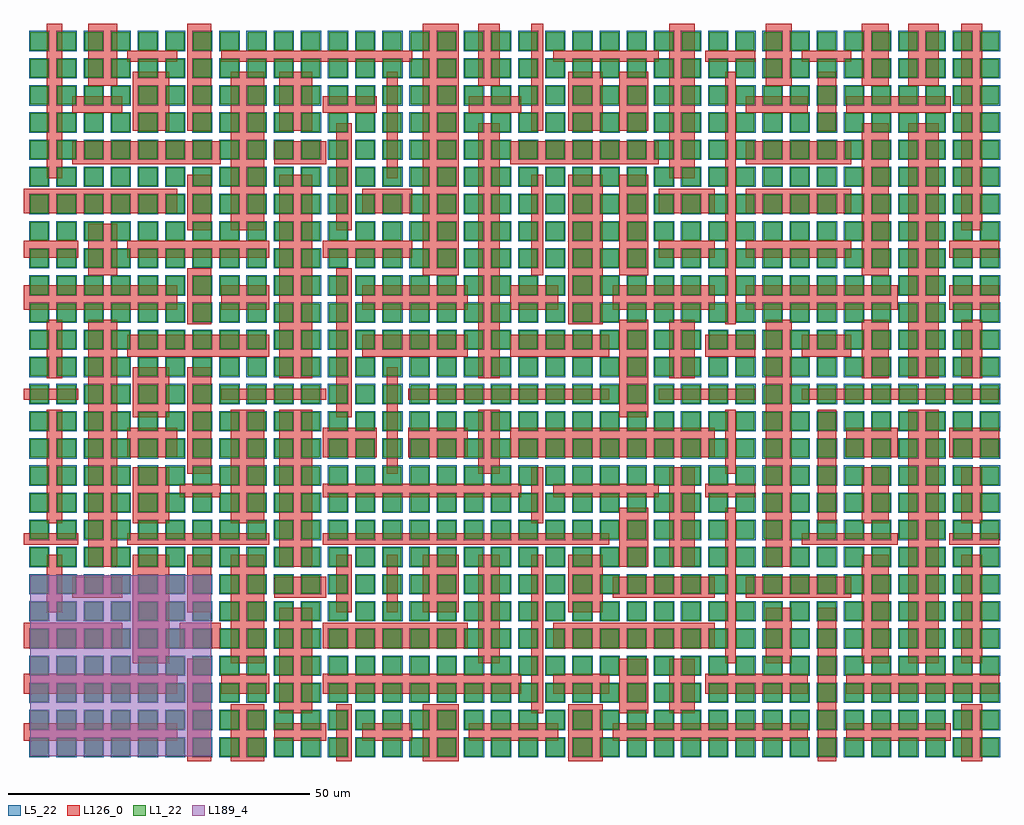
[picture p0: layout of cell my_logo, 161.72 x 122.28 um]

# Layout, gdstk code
import gdstk
lib = gdstk.Library(unit=1e-6, precision=1e-09)
def R(c, l, rs):  # rectangles x0, y0, x1, y1
    for r in rs: c.add(gdstk.rectangle(r[:2], r[2:], *l))
def A(c, l, x, y, w, h, nx, ny, dx, dy):  # array of equal rectangles
    R(c, l, [(x+i*dx, y+j*dy, x+i*dx+w, y+j*dy+h) for i in range(nx) for j in range(ny)])
L1_22 = (1, 22)
L5_22 = (5, 22)
L126_0 = (126, 0)
L189_4 = (189, 4)

my_logo = lib.new_cell('my_logo')
A(my_logo, L1_22, 0, 0, 3, 3, 36, 27, 4.5, 4.5)
A(my_logo, L5_22, -0.18, -0.18, 3.36, 3.36, 36, 27, 4.5, 4.5)
R(my_logo, L126_0, [(26.031,-0.877,29.969,16.172), (33.245,-0.877,38.755,8.625), (50.719,-0.877,53.281,8.625), (65.016,-0.877,70.984,8.625), (89.179,-0.877,94.821,8.625), (130.49,-0.877,133.51,24.594), (154.24,-0.877,157.76,8.625), (-1.045,2.577,24.331,5.423), (40.455,2.577,49.019,5.423), (54.981,2.577,63.316,5.423), (72.684,2.577,87.479,5.423), (96.521,2.577,128.79,5.423), (135.21,2.577,152.54,5.423), (41.265,7.123,46.735,24.594), (83.04,7.123,84.96,33.377), (97.604,7.123,102.396,16.172), (105.863,7.123,110.137,16.172), (-1.045,10.325,24.331,13.675), (31.669,10.325,39.565,13.675), (48.435,10.325,81.34,13.675), (86.66,10.325,95.904,13.675), (111.837,10.325,128.79,13.675), (135.21,10.325,160.54,13.675), (16.956,15.375,23.044,33.377), (33.245,15.375,38.755,33.377), (74.188,15.375,77.812,33.377), (115.115,15.375,116.885,41.168), (121.861,15.375,126.139,24.594), (137.747,15.375,142.253,33.377), (145.457,15.375,150.543,57.379), (154.24,15.375,157.76,33.377), (-1.045,17.872,15.256,22.128), (24.744,17.872,31.545,22.128), (48.435,17.872,72.488,22.128), (86.66,17.872,113.415,22.128), (2.745,23.828,5.255,33.377), (26.031,23.828,29.969,33.377), (50.719,23.828,53.281,33.377), (59.104,23.828,60.896,33.377), (65.016,23.828,70.984,33.377), (89.179,23.828,94.821,33.377), (6.955,26.294,15.256,29.706), (40.455,26.294,49.019,29.706), (96.521,26.294,113.415,29.706), (118.585,26.294,136.047,29.706), (9.633,31.406,14.367,72.293), (41.265,31.406,46.735,57.379), (97.604,31.406,102.396,41.168), (105.863,31.406,110.137,47.868), (121.861,31.406,126.139,72.293), (-1.045,35.077,7.933,36.923), (16.067,35.077,39.565,36.923), (48.435,35.077,95.904,36.923), (127.839,35.077,143.757,36.923), (152.243,35.077,160.54,36.923), (2.745,38.623,5.255,57.379), (16.956,38.623,23.044,47.868), (33.245,38.623,38.755,57.379), (83.04,38.623,84.96,47.868), (130.49,38.623,133.51,57.379), (137.747,38.623,142.253,47.868), (154.24,38.623,157.76,47.868), (24.744,42.868,31.545,45.132), (48.435,42.868,81.34,45.132), (86.66,42.868,104.163,45.132), (111.837,42.868,120.161,45.132), (26.031,46.832,29.969,64.462), (59.104,46.832,60.896,64.462), (74.188,46.832,77.812,57.379), (115.115,46.832,116.885,57.379), (16.067,49.568,24.331,54.432), (48.435,49.568,57.404,54.432), (62.596,49.568,72.488,54.432), (79.512,49.568,113.415,54.432), (135.21,49.568,143.757,54.432), (152.243,49.568,160.54,54.432), (16.956,56.132,23.044,64.462), (50.719,56.132,53.281,80.88), (97.604,56.132,102.396,72.293), (-1.045,59.079,7.933,60.921), (31.669,59.079,49.019,60.921), (62.596,59.079,95.904,60.921), (104.096,59.079,120.161,60.921), (127.839,59.079,160.54,60.921), (2.745,62.621,5.255,72.293), (41.265,62.621,46.735,96.375), (74.188,62.621,77.812,104.914), (105.863,62.621,110.137,72.293), (137.747,62.621,142.253,72.293), (145.457,62.621,150.543,104.914), (154.24,62.621,157.76,72.293), (16.067,66.162,39.565,69.838), (54.981,66.162,72.488,69.838), (79.512,66.162,95.904,69.838), (111.837,66.162,120.161,69.838), (127.839,66.162,136.047,69.838), (26.031,71.538,29.969,80.88), (89.179,71.538,94.821,96.375), (115.115,71.538,116.885,113.407), (-1.045,73.993,24.331,78.007), (31.669,73.993,39.565,78.007), (54.981,73.993,72.488,78.007), (79.512,73.993,87.479,78.007), (96.521,73.993,113.415,78.007), (118.585,73.993,143.757,78.007), (152.243,73.993,160.54,78.007), (9.633,79.707,14.367,88.242), (65.016,79.707,70.984,121.407), (83.04,79.707,84.96,96.375), (97.604,79.707,102.396,96.375), (137.747,79.707,142.253,104.914), (-1.045,82.58,7.933,85.42), (16.067,82.58,39.565,85.42), (48.435,82.58,63.316,85.42), (104.096,82.58,113.415,85.42), (118.585,82.58,136.047,85.42), (152.243,82.58,160.54,85.42), (26.031,87.12,29.969,96.375), (33.245,87.12,38.755,113.407), (50.719,87.12,53.281,104.914), (154.24,87.12,157.76,121.407), (-1.045,89.942,24.331,94.058), (54.981,89.942,63.316,94.058), (104.096,89.942,113.415,94.058), (118.585,89.942,136.047,94.058), (2.745,95.758,5.255,121.407), (59.104,95.758,60.896,113.407), (105.863,95.758,110.137,121.407), (6.955,98.075,31.545,101.925), (40.455,98.075,49.019,101.925), (79.512,98.075,104.163,101.925), (118.585,98.075,136.047,101.925), (16.956,103.625,23.044,113.407), (26.031,103.625,29.969,121.407), (41.265,103.625,46.735,113.407), (83.04,103.625,84.96,121.407), (89.179,103.625,94.821,113.407), (97.604,103.625,102.396,113.407), (130.49,103.625,133.51,113.407), (6.955,106.614,15.256,109.386), (48.435,106.614,57.404,109.386), (72.684,106.614,81.34,109.386), (118.585,106.614,128.79,109.386), (135.21,106.614,152.54,109.386), (9.633,111.086,14.367,121.407), (74.188,111.086,77.812,121.407), (121.861,111.086,126.139,121.407), (137.747,111.086,142.253,121.407), (145.457,111.086,150.543,121.407), (16.067,115.107,24.331,116.893), (31.669,115.107,63.316,116.893), (86.66,115.107,104.163,116.893), (111.837,115.107,120.161,116.893), (127.839,115.107,136.047,116.893)])
R(my_logo, L189_4, [(0,0,30,30)])

lib.write_gds('my_logo.gds')
